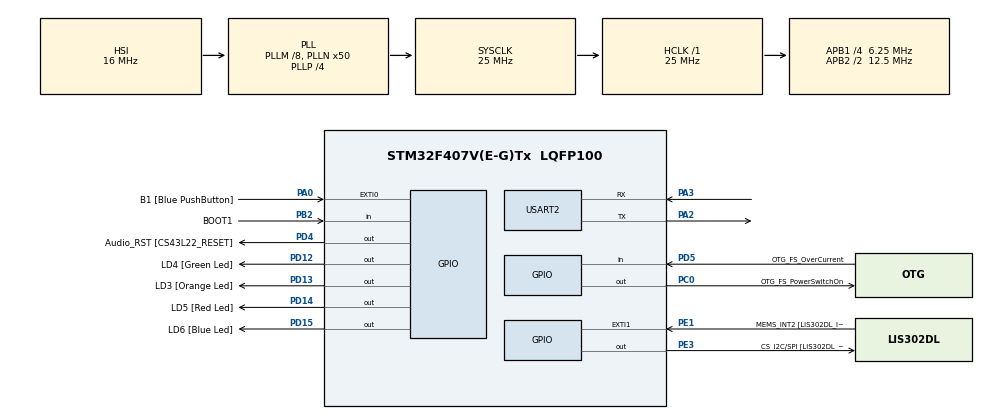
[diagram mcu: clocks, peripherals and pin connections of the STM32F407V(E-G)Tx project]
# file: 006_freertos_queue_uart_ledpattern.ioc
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Mcu.Family=STM32F4
Mcu.Name=STM32F407V(E-G)Tx
Mcu.Package=LQFP100
NVIC.PriorityGroup=NVIC_PRIORITYGROUP_4
NVIC.TIM6_DAC_IRQn=true\:0\:0\:true\:false\:true\:false\:true\:true
NVIC.TimeBase=TIM6_DAC_IRQn
NVIC.TimeBaseIP=TIM6
NVIC.USART2_IRQn=true\:6\:0\:true\:false\:true\:true\:true\:true
PA0-WKUP.GPIO_Label=B1 [Blue PushButton]
PA0-WKUP.Signal=GPXTI0
PA10.GPIO_Label=OTG_FS_ID
PA10.GPIO_Mode=GPIO_MODE_AF_PP
PA10.GPIO_PuPd=GPIO_NOPULL
PA10.GPIO_Speed=GPIO_SPEED_FREQ_LOW
PA10.Signal=USB_OTG_FS_ID
PA11.GPIO_Label=OTG_FS_DM
PA11.GPIO_Mode=GPIO_MODE_AF_PP
PA11.GPIO_PuPd=GPIO_NOPULL
PA11.GPIO_Speed=GPIO_SPEED_FREQ_LOW
PA11.Signal=USB_OTG_FS_DM
PA12.GPIO_Label=OTG_FS_DP
PA12.GPIO_Mode=GPIO_MODE_AF_PP
PA12.GPIO_PuPd=GPIO_NOPULL
PA12.GPIO_Speed=GPIO_SPEED_FREQ_LOW
PA12.Signal=USB_OTG_FS_DP
PA13.GPIO_Label=SWDIO
PA13.Signal=SYS_JTMS-SWDIO
PA14.GPIO_Label=SWCLK
PA14.Signal=SYS_JTCK-SWCLK
PA2.Mode=Asynchronous
PA2.Signal=USART2_TX
PA3.Mode=Asynchronous
PA3.Signal=USART2_RX
PA4.GPIO_Label=I2S3_WS [CS43L22_LRCK]
PA4.GPIO_Mode=GPIO_MODE_AF_PP
PA4.GPIO_PuPd=GPIO_NOPULL
PA4.GPIO_Speed=GPIO_SPEED_FREQ_LOW
PA4.Signal=I2S3_WS
PA5.GPIO_Label=SPI1_SCK [LIS302DL_SCL/SPC]
PA5.GPIO_Mode=GPIO_MODE_AF_PP
PA5.GPIO_PuPd=GPIO_NOPULL
PA5.GPIO_Speed=GPIO_SPEED_FREQ_LOW
PA5.Signal=SPI1_SCK
PA6.GPIO_Label=SPI1_MISO [LIS302DL_SDO]
PA6.GPIO_Mode=GPIO_MODE_AF_PP
PA6.GPIO_PuPd=GPIO_NOPULL
PA6.GPIO_Speed=GPIO_SPEED_FREQ_LOW
PA6.Signal=SPI1_MISO
PA7.GPIO_Label=SPI1_MOSI [LIS302DL_SDA/SDI/SDO]
PA7.GPIO_Mode=GPIO_MODE_AF_PP
PA7.GPIO_PuPd=GPIO_NOPULL
PA7.GPIO_Speed=GPIO_SPEED_FREQ_LOW
PA7.Signal=SPI1_MOSI
PA9.GPIO_Label=VBUS_FS
PA9.GPIO_Mode=GPIO_MODE_INPUT
PA9.GPIO_PuPd=GPIO_NOPULL
PA9.Signal=USB_OTG_FS_VBUS
PB10.GPIO_Label=CLK_IN [MP45DT02_CLK]
PB10.GPIO_Mode=GPIO_MODE_AF_PP
PB10.GPIO_PuPd=GPIO_NOPULL
PB10.GPIO_Speed=GPIO_SPEED_FREQ_LOW
PB10.Signal=I2S2_CK
PB2.GPIO_Label=BOOT1
PB2.GPIO_Mode=GPIO_MODE_INPUT
PB2.GPIO_PuPd=GPIO_NOPULL
PB2.Signal=GPIO_Input
PB3.GPIO_Label=SWO
PB3.Signal=SYS_JTDO-SWO
PB6.GPIO_Label=Audio_SCL [CS43L22_SCL]
PB6.GPIO_Mode=GPIO_MODE_AF_OD
PB6.GPIO_PuPd=GPIO_NOPULL
PB6.GPIO_Speed=GPIO_SPEED_FREQ_LOW
PB6.Signal=I2C1_SCL
PB9.GPIO_Label=Audio_SDA [CS43L22_SDA]
PB9.GPIO_Mode=GPIO_MODE_AF_OD
PB9.GPIO_PuPd=GPIO_NOPULL
PB9.GPIO_Speed=GPIO_SPEED_FREQ_LOW
PB9.Signal=I2C1_SDA
PC0.GPIO_Label=OTG_FS_PowerSwitchOn
PC0.GPIO_PuPd=GPIO_NOPULL
PC0.GPIO_Speed=GPIO_SPEED_FREQ_LOW
PC0.PinState=GPIO_PIN_SET
PC0.Signal=GPIO_Output
PC10.GPIO_Label=I2S3_SCK [CS43L22_SCLK]
PC10.GPIO_Mode=GPIO_MODE_AF_PP
PC10.GPIO_PuPd=GPIO_NOPULL
PC10.GPIO_Speed=GPIO_SPEED_FREQ_LOW
PC10.Signal=I2S3_CK
PC12.GPIO_Label=I2S3_SD [CS43L22_SDIN]
PC12.GPIO_Mode=GPIO_MODE_AF_PP
PC12.GPIO_PuPd=GPIO_NOPULL
PC12.GPIO_Speed=GPIO_SPEED_FREQ_LOW
PC12.Signal=I2S3_SD
PC14-OSC32_IN.GPIO_Label=PC14-OSC32_IN
PC14-OSC32_IN.Signal=RCC_OSC32_IN
PC15-OSC32_OUT.GPIO_Label=PC15-OSC32_OUT
PC15-OSC32_OUT.Signal=RCC_OSC32_OUT
PC3.GPIO_Label=PDM_OUT [MP45DT02_DOUT]
PC3.GPIO_Mode=GPIO_MODE_AF_PP
PC3.GPIO_PuPd=GPIO_NOPULL
PC3.GPIO_Speed=GPIO_SPEED_FREQ_LOW
PC3.Signal=I2S2_SD
PC7.GPIO_Label=I2S3_MCK [CS43L22_MCLK]
PC7.GPIO_Mode=GPIO_MODE_AF_PP
PC7.GPIO_PuPd=GPIO_NOPULL
PC7.GPIO_Speed=GPIO_SPEED_FREQ_LOW
PC7.Signal=I2S3_MCK
PD12.GPIO_Label=LD4 [Green Led]
PD12.GPIO_PuPd=GPIO_NOPULL
PD12.GPIO_Speed=GPIO_SPEED_FREQ_LOW
PD12.Signal=GPIO_Output
PD13.GPIO_Label=LD3 [Orange Led]
PD13.GPIO_PuPd=GPIO_NOPULL
PD13.GPIO_Speed=GPIO_SPEED_FREQ_LOW
PD13.Signal=GPIO_Output
PD14.GPIO_Label=LD5 [Red Led]
PD14.GPIO_PuPd=GPIO_NOPULL
PD14.GPIO_Speed=GPIO_SPEED_FREQ_LOW
PD14.Signal=GPIO_Output
PD15.GPIO_Label=LD6 [Blue Led]
PD15.GPIO_PuPd=GPIO_NOPULL
PD15.GPIO_Speed=GPIO_SPEED_FREQ_LOW
PD15.Signal=GPIO_Output
PD4.GPIO_Label=Audio_RST [CS43L22_RESET]
PD4.GPIO_PuPd=GPIO_NOPULL
PD4.GPIO_Speed=GPIO_SPEED_FREQ_LOW
PD4.Signal=GPIO_Output
PD5.GPIO_Label=OTG_FS_OverCurrent
PD5.GPIO_Mode=GPIO_MODE_INPUT
PD5.GPIO_PuPd=GPIO_NOPULL
PD5.Signal=GPIO_Input
PE1.GPIO_Label=MEMS_INT2 [LIS302DL_INT2]
PE1.GPIO_ModeDefaultEXTI=GPIO_MODE_EVT_RISING
PE1.GPIO_PuPd=GPIO_NOPULL
PE1.Signal=GPXTI1
PE3.GPIO_Label=CS_I2C/SPI [LIS302DL_CS_I2C/SPI]
PE3.GPIO_PuPd=GPIO_NOPULL
PE3.GPIO_Speed=GPIO_SPEED_FREQ_LOW
PE3.Signal=GPIO_Output
PH0-OSC_IN.GPIO_Label=PH0-OSC_IN
PH0-OSC_IN.Signal=RCC_OSC_IN
PH1-OSC_OUT.GPIO_Label=PH1-OSC_OUT
PH1-OSC_OUT.Signal=RCC_OSC_OUT
ProjectManager.HeapSize=0x200
ProjectManager.StackSize=0x400
ProjectManager.TargetToolchain=STM32CubeIDE
RCC.48MHZClocksFreq_Value=14285714.285714285
RCC.AHBFreq_Value=25000000
RCC.APB1CLKDivider=RCC_HCLK_DIV4
RCC.APB1Freq_Value=6250000
RCC.APB1TimFreq_Value=12500000
RCC.APB2CLKDivider=RCC_HCLK_DIV2
RCC.APB2Freq_Value=12500000
RCC.APB2TimFreq_Value=25000000
RCC.CortexFreq_Value=25000000
RCC.HCLKFreq_Value=25000000
RCC.HSE_VALUE=8000000
RCC.HSI_VALUE=16000000
RCC.LSE_VALUE=32768
RCC.PLLM=8
RCC.PLLN=50
RCC.PLLP=RCC_PLLP_DIV4
RCC.PLLQ=7
RCC.SYSCLKFreq_VALUE=25000000
RCC.SYSCLKSource=RCC_SYSCLKSOURCE_PLLCLK
RCC.VCOOutputFreq_Value=100000000
RTC.HourFormat=RTC_HOURFORMAT_12
USART2.VirtualMode=VM_ASYNC
VP_RTC_VS_RTC_Activate.Mode=RTC_Enabled
VP_SYS_VS_tim6.Mode=TIM6
board=STM32F407G-DISC1

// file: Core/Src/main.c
/* USER CODE BEGIN Header */
/**
  ******************************************************************************
  * @file           : main.c
  * @brief          : Main program body
  ******************************************************************************
  * @attention
  *
  * Copyright (c) 2026 STMicroelectronics.
  * All rights reserved.
  *
  * This software is licensed under terms that can be found in the LICENSE file
  * in the root directory of this software component.
  * If no LICENSE file comes with this software, it is provided AS-IS.
  *
  ******************************************************************************
  */
/* USER CODE END Header */
#include "main.h"

RTC_HandleTypeDef hrtc;

UART_HandleTypeDef huart2;

/* USER CODE BEGIN PV */
TaskHandle_t handle_ledTask;
TaskHandle_t handle_menuTask;
TaskHandle_t handle_rtcTask;
TaskHandle_t handle_printTask;
TaskHandle_t handle_commandHandlerTask;

QueueHandle_t q_data;
QueueHandle_t q_print;

//software timer handles
TimerHandle_t  handle_led_timer[4];
TimerHandle_t rtc_timer;

volatile uint8_t user_data;

//state variable
state_t curr_state = sMainMenu;
/* USER CODE END PV */

void SystemClock_Config(void);
static void MX_GPIO_Init(void);
static void MX_RTC_Init(void);
static void MX_USART2_UART_Init(void);
/* USER CODE BEGIN PFP */
void led_effect_callback(TimerHandle_t xTimer);
void rtc_report_callback( TimerHandle_t xTimer );
/* USER CODE END PFP */

int main(void)
{

  /* MCU Configuration--------------------------------------------------------*/

  /* Reset of all peripherals, Initializes the Flash interface and the Systick. */
  HAL_Init();

  /* Configure the system clock */
  SystemClock_Config();

  /* Initialize all configured peripherals */
  MX_GPIO_Init();
  MX_RTC_Init();
  MX_USART2_UART_Init();
  /* USER CODE BEGIN 2 */

  BaseType_t status;

  status = xTaskCreate(ledTask, "ledTask", 250, NULL, 2, &handle_ledTask);
  configASSERT(status == pdPASS);
  status = xTaskCreate(menuTask, "menuTask", 250, NULL, 2, &handle_menuTask);
  configASSERT(status == pdPASS);
  status = xTaskCreate(rtcTask, "rtcTask", 250, NULL, 2, &handle_rtcTask);
  configASSERT(status == pdPASS);
  status = xTaskCreate(printTask, "printTask", 250, NULL, 2, &handle_printTask);
  configASSERT(status == pdPASS);
  status = xTaskCreate(commandHandlerTask, "commandHandlerTask", 250, NULL, 2, &handle_commandHandlerTask);
  configASSERT(status == pdPASS);

  q_data = xQueueCreate(10, sizeof(char));
  configASSERT(q_data != NULL);

  q_print = xQueueCreate (10, sizeof(size_t));

  configASSERT(q_print != NULL);
  //Create software timers for LED effects
  for(int i = 0 ; i < 4 ; i++)
  	handle_led_timer[i] = xTimerCreate("led_timer",pdMS_TO_TICKS(500),pdTRUE, (void*)(i+1),led_effect_callback);

  rtc_timer = xTimerCreate ("rtc_report_timer",pdMS_TO_TICKS(1000),pdTRUE,NULL,rtc_report_callback);

  HAL_UART_Receive_IT(&huart2, (uint8_t*)&user_data, 1);

  vTaskStartScheduler();

  /* USER CODE END 2 */

  /* Infinite loop */
  while (1)
  {

  }
}

void SystemClock_Config(void)
{
  RCC_OscInitTypeDef RCC_OscInitStruct = {0};
  RCC_ClkInitTypeDef RCC_ClkInitStruct = {0};

  /** Configure the main internal regulator output voltage
  */
  __HAL_RCC_PWR_CLK_ENABLE();
  __HAL_PWR_VOLTAGESCALING_CONFIG(PWR_REGULATOR_VOLTAGE_SCALE1);

  /** Initializes the RCC Oscillators according to the specified parameters
  * in the RCC_OscInitTypeDef structure.
  */
  RCC_OscInitStruct.OscillatorType = RCC_OSCILLATORTYPE_HSI|RCC_OSCILLATORTYPE_LSI;
  RCC_OscInitStruct.HSIState = RCC_HSI_ON;
  RCC_OscInitStruct.HSICalibrationValue = RCC_HSICALIBRATION_DEFAULT;
  RCC_OscInitStruct.LSIState = RCC_LSI_ON;
  RCC_OscInitStruct.PLL.PLLState = RCC_PLL_ON;
  RCC_OscInitStruct.PLL.PLLSource = RCC_PLLSOURCE_HSI;
  RCC_OscInitStruct.PLL.PLLM = 8;
  RCC_OscInitStruct.PLL.PLLN = 50;
  RCC_OscInitStruct.PLL.PLLP = RCC_PLLP_DIV4;
  RCC_OscInitStruct.PLL.PLLQ = 7;
  if (HAL_RCC_OscConfig(&RCC_OscInitStruct) != HAL_OK)
  {
    Error_Handler();
  }

  /** Initializes the CPU, AHB and APB buses clocks
  */
  RCC_ClkInitStruct.ClockType = RCC_CLOCKTYPE_HCLK|RCC_CLOCKTYPE_SYSCLK
                              |RCC_CLOCKTYPE_PCLK1|RCC_CLOCKTYPE_PCLK2;
  RCC_ClkInitStruct.SYSCLKSource = RCC_SYSCLKSOURCE_PLLCLK;
  RCC_ClkInitStruct.AHBCLKDivider = RCC_SYSCLK_DIV1;
  RCC_ClkInitStruct.APB1CLKDivider = RCC_HCLK_DIV4;
  RCC_ClkInitStruct.APB2CLKDivider = RCC_HCLK_DIV2;

  if (HAL_RCC_ClockConfig(&RCC_ClkInitStruct, FLASH_LATENCY_0) != HAL_OK)
  {
    Error_Handler();
  }
}

static void MX_RTC_Init(void)
{

  /** Initialize RTC Only
  */
  hrtc.Instance = RTC;
  hrtc.Init.HourFormat = RTC_HOURFORMAT_12;
  hrtc.Init.AsynchPrediv = 127;
  hrtc.Init.SynchPrediv = 255;
  hrtc.Init.OutPut = RTC_OUTPUT_DISABLE;
  hrtc.Init.OutPutPolarity = RTC_OUTPUT_POLARITY_HIGH;
  hrtc.Init.OutPutType = RTC_OUTPUT_TYPE_OPENDRAIN;
  if (HAL_RTC_Init(&hrtc) != HAL_OK)
  {
    Error_Handler();
  }

}

static void MX_USART2_UART_Init(void)
{

  huart2.Instance = USART2;
  huart2.Init.BaudRate = 115200;
  huart2.Init.WordLength = UART_WORDLENGTH_8B;
  huart2.Init.StopBits = UART_STOPBITS_1;
  huart2.Init.Parity = UART_PARITY_NONE;
  huart2.Init.Mode = UART_MODE_TX_RX;
  huart2.Init.HwFlowCtl = UART_HWCONTROL_NONE;
  huart2.Init.OverSampling = UART_OVERSAMPLING_16;
  if (HAL_UART_Init(&huart2) != HAL_OK)
  {
    Error_Handler();
  }

}

static void MX_GPIO_Init(void)
{
  GPIO_InitTypeDef GPIO_InitStruct = {0};

  /* GPIO Ports Clock Enable */
  __HAL_RCC_GPIOE_CLK_ENABLE();
  __HAL_RCC_GPIOC_CLK_ENABLE();
  __HAL_RCC_GPIOH_CLK_ENABLE();
  __HAL_RCC_GPIOA_CLK_ENABLE();
  __HAL_RCC_GPIOB_CLK_ENABLE();
  __HAL_RCC_GPIOD_CLK_ENABLE();

  /*Configure GPIO pin Output Level */
  HAL_GPIO_WritePin(CS_I2C_SPI_GPIO_Port, CS_I2C_SPI_Pin, GPIO_PIN_RESET);

  /*Configure GPIO pin Output Level */
  HAL_GPIO_WritePin(OTG_FS_PowerSwitchOn_GPIO_Port, OTG_FS_PowerSwitchOn_Pin, GPIO_PIN_SET);

  /*Configure GPIO pin Output Level */
  HAL_GPIO_WritePin(GPIOD, LD4_Pin|LD3_Pin|LD5_Pin|LD6_Pin
                          |Audio_RST_Pin, GPIO_PIN_RESET);

  /*Configure GPIO pin : CS_I2C_SPI_Pin */
  GPIO_InitStruct.Pin = CS_I2C_SPI_Pin;
  GPIO_InitStruct.Mode = GPIO_MODE_OUTPUT_PP;
  GPIO_InitStruct.Pull = GPIO_NOPULL;
  GPIO_InitStruct.Speed = GPIO_SPEED_FREQ_LOW;
  HAL_GPIO_Init(CS_I2C_SPI_GPIO_Port, &GPIO_InitStruct);

  /*Configure GPIO pin : OTG_FS_PowerSwitchOn_Pin */
  GPIO_InitStruct.Pin = OTG_FS_PowerSwitchOn_Pin;
  GPIO_InitStruct.Mode = GPIO_MODE_OUTPUT_PP;
  GPIO_InitStruct.Pull = GPIO_NOPULL;
  GPIO_InitStruct.Speed = GPIO_SPEED_FREQ_LOW;
  HAL_GPIO_Init(OTG_FS_PowerSwitchOn_GPIO_Port, &GPIO_InitStruct);

  /*Configure GPIO pin : PDM_OUT_Pin */
  GPIO_InitStruct.Pin = PDM_OUT_Pin;
  GPIO_InitStruct.Mode = GPIO_MODE_AF_PP;
  GPIO_InitStruct.Pull = GPIO_NOPULL;
  GPIO_InitStruct.Speed = GPIO_SPEED_FREQ_LOW;
  GPIO_InitStruct.Alternate = GPIO_AF5_SPI2;
  HAL_GPIO_Init(PDM_OUT_GPIO_Port, &GPIO_InitStruct);

  /*Configure GPIO pin : B1_Pin */
  GPIO_InitStruct.Pin = B1_Pin;
  GPIO_InitStruct.Mode = GPIO_MODE_IT_RISING;
  GPIO_InitStruct.Pull = GPIO_NOPULL;
  HAL_GPIO_Init(B1_GPIO_Port, &GPIO_InitStruct);

  /*Configure GPIO pin : I2S3_WS_Pin */
  GPIO_InitStruct.Pin = I2S3_WS_Pin;
  GPIO_InitStruct.Mode = GPIO_MODE_AF_PP;
  GPIO_InitStruct.Pull = GPIO_NOPULL;
  GPIO_InitStruct.Speed = GPIO_SPEED_FREQ_LOW;
  GPIO_InitStruct.Alternate = GPIO_AF6_SPI3;
  HAL_GPIO_Init(I2S3_WS_GPIO_Port, &GPIO_InitStruct);

  /*Configure GPIO pins : SPI1_SCK_Pin SPI1_MISO_Pin SPI1_MOSI_Pin */
  GPIO_InitStruct.Pin = SPI1_SCK_Pin|SPI1_MISO_Pin|SPI1_MOSI_Pin;
  GPIO_InitStruct.Mode = GPIO_MODE_AF_PP;
  GPIO_InitStruct.Pull = GPIO_NOPULL;
  GPIO_InitStruct.Speed = GPIO_SPEED_FREQ_LOW;
  GPIO_InitStruct.Alternate = GPIO_AF5_SPI1;
  HAL_GPIO_Init(GPIOA, &GPIO_InitStruct);

  /*Configure GPIO pin : BOOT1_Pin */
  GPIO_InitStruct.Pin = BOOT1_Pin;
  GPIO_InitStruct.Mode = GPIO_MODE_INPUT;
  GPIO_InitStruct.Pull = GPIO_NOPULL;
  HAL_GPIO_Init(BOOT1_GPIO_Port, &GPIO_InitStruct);

  /*Configure GPIO pin : CLK_IN_Pin */
  GPIO_InitStruct.Pin = CLK_IN_Pin;
  GPIO_InitStruct.Mode = GPIO_MODE_AF_PP;
  GPIO_InitStruct.Pull = GPIO_NOPULL;
  GPIO_InitStruct.Speed = GPIO_SPEED_FREQ_LOW;
  GPIO_InitStruct.Alternate = GPIO_AF5_SPI2;
  HAL_GPIO_Init(CLK_IN_GPIO_Port, &GPIO_InitStruct);

  /*Configure GPIO pins : LD4_Pin LD3_Pin LD5_Pin LD6_Pin
                           Audio_RST_Pin */
  GPIO_InitStruct.Pin = LD4_Pin|LD3_Pin|LD5_Pin|LD6_Pin
                          |Audio_RST_Pin;
  GPIO_InitStruct.Mode = GPIO_MODE_OUTPUT_PP;
  GPIO_InitStruct.Pull = GPIO_NOPULL;
  GPIO_InitStruct.Speed = GPIO_SPEED_FREQ_LOW;
  HAL_GPIO_Init(GPIOD, &GPIO_InitStruct);

  /*Configure GPIO pins : I2S3_MCK_Pin I2S3_SCK_Pin I2S3_SD_Pin */
  GPIO_InitStruct.Pin = I2S3_MCK_Pin|I2S3_SCK_Pin|I2S3_SD_Pin;
  GPIO_InitStruct.Mode = GPIO_MODE_AF_PP;
  GPIO_InitStruct.Pull = GPIO_NOPULL;
  GPIO_InitStruct.Speed = GPIO_SPEED_FREQ_LOW;
  GPIO_InitStruct.Alternate = GPIO_AF6_SPI3;
  HAL_GPIO_Init(GPIOC, &GPIO_InitStruct);

  /*Configure GPIO pin : VBUS_FS_Pin */
  GPIO_InitStruct.Pin = VBUS_FS_Pin;
  GPIO_InitStruct.Mode = GPIO_MODE_INPUT;
  GPIO_InitStruct.Pull = GPIO_NOPULL;
  HAL_GPIO_Init(VBUS_FS_GPIO_Port, &GPIO_InitStruct);

  /*Configure GPIO pins : OTG_FS_ID_Pin OTG_FS_DM_Pin OTG_FS_DP_Pin */
  GPIO_InitStruct.Pin = OTG_FS_ID_Pin|OTG_FS_DM_Pin|OTG_FS_DP_Pin;
  GPIO_InitStruct.Mode = GPIO_MODE_AF_PP;
  GPIO_InitStruct.Pull = GPIO_NOPULL;
  GPIO_InitStruct.Speed = GPIO_SPEED_FREQ_LOW;
  GPIO_InitStruct.Alternate = GPIO_AF10_OTG_FS;
  HAL_GPIO_Init(GPIOA, &GPIO_InitStruct);

  /*Configure GPIO pin : OTG_FS_OverCurrent_Pin */
  GPIO_InitStruct.Pin = OTG_FS_OverCurrent_Pin;
  GPIO_InitStruct.Mode = GPIO_MODE_INPUT;
  GPIO_InitStruct.Pull = GPIO_NOPULL;
  HAL_GPIO_Init(OTG_FS_OverCurrent_GPIO_Port, &GPIO_InitStruct);

  /*Configure GPIO pins : Audio_SCL_Pin Audio_SDA_Pin */
  GPIO_InitStruct.Pin = Audio_SCL_Pin|Audio_SDA_Pin;
  GPIO_InitStruct.Mode = GPIO_MODE_AF_OD;
  GPIO_InitStruct.Pull = GPIO_NOPULL;
  GPIO_InitStruct.Speed = GPIO_SPEED_FREQ_LOW;
  GPIO_InitStruct.Alternate = GPIO_AF4_I2C1;
  HAL_GPIO_Init(GPIOB, &GPIO_InitStruct);

  /*Configure GPIO pin : MEMS_INT2_Pin */
  GPIO_InitStruct.Pin = MEMS_INT2_Pin;
  GPIO_InitStruct.Mode = GPIO_MODE_EVT_RISING;
  GPIO_InitStruct.Pull = GPIO_NOPULL;
  HAL_GPIO_Init(MEMS_INT2_GPIO_Port, &GPIO_InitStruct);

}

/* USER CODE BEGIN 4 */

void rtc_report_callback( TimerHandle_t xTimer )
{
	 show_time_date_itm();

}

void led_effect_callback(TimerHandle_t xTimer)
{
	 int id;
	 id = ( uint32_t ) pvTimerGetTimerID( xTimer );

	 switch(id)
	 {
	 case 1 :
		 LED_effect1();
		 break;
	 case 2:
		 LED_effect2();
		 break;
	 case 3:
		 LED_effect3();
		 break;
	 case 4:
		 LED_effect4();
	 }

}
void HAL_UART_RxCpltCallback(UART_HandleTypeDef *huart)
{

	uint8_t dummy;
	if(xQueueIsQueueFullFromISR(q_data) != pdTRUE)
	{
		/*Queue is not full */

		/* Enqueue data byte */
		xQueueSendFromISR(q_data, (void*)&user_data, NULL);
	}else{
		/*Queue is full */
		/*check, is user_data '\n'? */
		if(user_data == '\n')
		{
			/*user_data = '\n' */

			/* make sure that last data byte of the queue is '\n' */
			xQueueReceiveFromISR(q_data, (void*)&dummy, NULL);
			xQueueSendFromISR(q_data, (void*)&user_data, NULL);
		}
	}

	/* send notification to command handling task if user_data = '\n' */
	if(user_data == '\n')
	{
		xTaskNotifyFromISR(handle_commandHandlerTask,0, eNoAction,NULL);
	}
	/*Enable UART data byte reception again in IT mode */
	HAL_UART_Receive_IT(&huart2, (void*)&user_data, 1);

}

/* USER CODE END 4 */

void HAL_TIM_PeriodElapsedCallback(TIM_HandleTypeDef *htim)
{
  if (htim->Instance == TIM6)
  {
    HAL_IncTick();
  }
}

void Error_Handler(void)
{
  __disable_irq();
  while (1)
  {
  }
}
